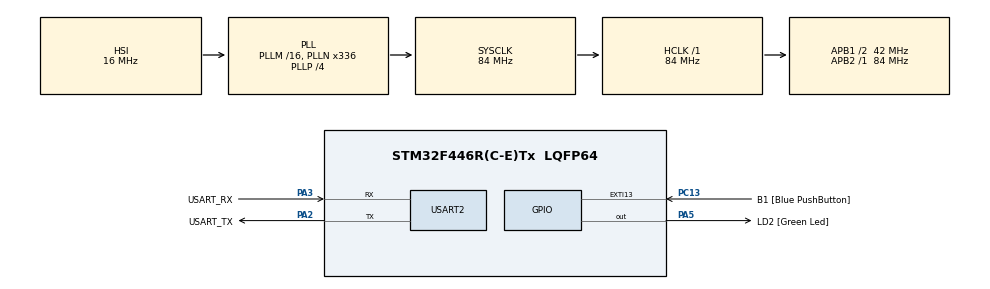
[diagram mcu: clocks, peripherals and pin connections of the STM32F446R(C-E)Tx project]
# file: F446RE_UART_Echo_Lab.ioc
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Mcu.Family=STM32F4
Mcu.Name=STM32F446R(C-E)Tx
Mcu.Package=LQFP64
NVIC.PriorityGroup=NVIC_PRIORITYGROUP_0
NVIC.USART2_IRQn=true\:0\:0\:false\:false\:true\:true\:true\:true
PA13.GPIO_Label=TMS
PA13.Mode=Serial_Wire
PA13.Signal=SYS_JTMS-SWDIO
PA14.GPIO_Label=TCK
PA14.Mode=Serial_Wire
PA14.Signal=SYS_JTCK-SWCLK
PA2.GPIO_Label=USART_TX
PA2.Mode=Asynchronous
PA2.Signal=USART2_TX
PA3.GPIO_Label=USART_RX
PA3.Mode=Asynchronous
PA3.Signal=USART2_RX
PA5.GPIO_Label=LD2 [Green Led]
PA5.Signal=GPIO_Output
PB3.GPIO_Label=SWO
PB3.Signal=SYS_JTDO-SWO
PC13.GPIO_Label=B1 [Blue PushButton]
PC13.GPIO_ModeDefaultEXTI=GPIO_MODE_IT_FALLING
PC13.Signal=GPXTI13
PC14-OSC32_IN.Mode=LSE-External-Oscillator
PC14-OSC32_IN.Signal=RCC_OSC32_IN
PC15-OSC32_OUT.Mode=LSE-External-Oscillator
PC15-OSC32_OUT.Signal=RCC_OSC32_OUT
PH0-OSC_IN.Mode=HSE-External-Oscillator
PH0-OSC_IN.Signal=RCC_OSC_IN
PH1-OSC_OUT.Mode=HSE-External-Oscillator
PH1-OSC_OUT.Signal=RCC_OSC_OUT
ProjectManager.HeapSize=0x200
ProjectManager.StackSize=0x400
ProjectManager.TargetToolchain=STM32CubeIDE
RCC.48MHZClocksFreq_Value=84000000
RCC.AHBFreq_Value=84000000
RCC.APB1CLKDivider=RCC_HCLK_DIV2
RCC.APB1Freq_Value=42000000
RCC.APB1TimFreq_Value=84000000
RCC.APB2Freq_Value=84000000
RCC.APB2TimFreq_Value=84000000
RCC.CortexFreq_Value=84000000
RCC.FLatency-AdvancedSettings=FLASH_LATENCY_2
RCC.HCLKFreq_Value=84000000
RCC.HSE_VALUE=8000000
RCC.HSI_VALUE=16000000
RCC.PLLN=336
RCC.PLLP=RCC_PLLP_DIV4
RCC.SYSCLKFreq_VALUE=84000000
RCC.SYSCLKSource=RCC_SYSCLKSOURCE_PLLCLK
RCC.USBFreq_Value=168000000
RCC.VCOOutputFreq_Value=336000000
USART2.VirtualMode=VM_ASYNC
board=NUCLEO-F446RE

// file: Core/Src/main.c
/* USER CODE BEGIN Header */
/**
  ******************************************************************************
  * @file           : main.c
  * @brief          : Main program body
  ******************************************************************************
  * @attention
  *
  * Copyright (c) 2026 STMicroelectronics.
  * All rights reserved.
  *
  * This software is licensed under terms that can be found in the LICENSE file
  * in the root directory of this software component.
  * If no LICENSE file comes with this software, it is provided AS-IS.
  *
  ******************************************************************************
  */
/* USER CODE END Header */
#include "main.h"

UART_HandleTypeDef huart2;

/* USER CODE BEGIN PV */

static uint8_t uart_rx_byte;
static volatile uint32_t a1_count = 0;

/* USER CODE END PV */

void SystemClock_Config(void);
static void MX_GPIO_Init(void);
static void MX_USART2_UART_Init(void);

int main(void)
{

  /* MCU Configuration--------------------------------------------------------*/

  /* Reset of all peripherals, Initializes the Flash interface and the Systick. */
  HAL_Init();

  /* Configure the system clock */
  SystemClock_Config();

  /* Initialize all configured peripherals */
  MX_GPIO_Init();
  MX_USART2_UART_Init();
  /* USER CODE BEGIN 2 */

//  uint8_t rx;
//
//  const char banner[] = "UART2 READY\r\n";
//
//  HAL_UART_Transmit(
//      &huart2,
//      (uint8_t *)banner,
//      sizeof(banner) - 1,
//      100
//  );
//
//  const char token[] = "A1?";
//  uint8_t seq = 0;

  const char banner[] = "UART2 IT READY\r\n";

  HAL_UART_Transmit(
      &huart2,
      (uint8_t *)banner,
      sizeof(banner) - 1,
      100
  );

  if (HAL_UART_Receive_IT(
          &huart2,
          &uart_rx_byte,
          1) != HAL_OK)
  {
      Error_Handler();
  }

  uint32_t handled_count = 0;

  /* USER CODE END 2 */

  /* Infinite loop */
  while (1)
  {

    /* USER CODE BEGIN 3 */
//
//	  if (HAL_UART_Receive(&huart2, &rx, 1, 1000) == HAL_OK)
//	  {
//	      // Echo received byte
//	      HAL_UART_Transmit(&huart2, &rx, 1, 100);
//
//	      // Detect command "A1?"
//	      if (rx == (uint8_t)token[seq])
//	      {
//	          seq++;
//
//	          if (seq == 3)
//	          {
//	              // Toggle PA5 three times
//	              for (int i = 0; i < 3; i++)
//	              {
//	                  HAL_GPIO_TogglePin(GPIOA, GPIO_PIN_5);
//	                  HAL_Delay(150);
//	              }
//
//	              seq = 0;
//	          }
//	      }
//	      else
//	      {
//	          seq = (rx == 'A') ? 1 : 0;
//	      }
//	  }
//
//  }

	  if (handled_count != a1_count)
	  {
	      handled_count++;

	      for (int i = 0; i < 3; i++)
	      {
	          HAL_GPIO_TogglePin(
	              LD2_GPIO_Port,
	              LD2_Pin
	          );

	          HAL_Delay(150);
	      }
	  }

  /* USER CODE END 3 */
}

}

void SystemClock_Config(void)
{
  RCC_OscInitTypeDef RCC_OscInitStruct = {0};
  RCC_ClkInitTypeDef RCC_ClkInitStruct = {0};

  /** Configure the main internal regulator output voltage
  */
  __HAL_RCC_PWR_CLK_ENABLE();
  __HAL_PWR_VOLTAGESCALING_CONFIG(PWR_REGULATOR_VOLTAGE_SCALE3);

  /** Initializes the RCC Oscillators according to the specified parameters
  * in the RCC_OscInitTypeDef structure.
  */
  RCC_OscInitStruct.OscillatorType = RCC_OSCILLATORTYPE_HSI;
  RCC_OscInitStruct.HSIState = RCC_HSI_ON;
  RCC_OscInitStruct.HSICalibrationValue = RCC_HSICALIBRATION_DEFAULT;
  RCC_OscInitStruct.PLL.PLLState = RCC_PLL_ON;
  RCC_OscInitStruct.PLL.PLLSource = RCC_PLLSOURCE_HSI;
  RCC_OscInitStruct.PLL.PLLM = 16;
  RCC_OscInitStruct.PLL.PLLN = 336;
  RCC_OscInitStruct.PLL.PLLP = RCC_PLLP_DIV4;
  RCC_OscInitStruct.PLL.PLLQ = 2;
  RCC_OscInitStruct.PLL.PLLR = 2;
  if (HAL_RCC_OscConfig(&RCC_OscInitStruct) != HAL_OK)
  {
    Error_Handler();
  }

  /** Initializes the CPU, AHB and APB buses clocks
  */
  RCC_ClkInitStruct.ClockType = RCC_CLOCKTYPE_HCLK|RCC_CLOCKTYPE_SYSCLK
                              |RCC_CLOCKTYPE_PCLK1|RCC_CLOCKTYPE_PCLK2;
  RCC_ClkInitStruct.SYSCLKSource = RCC_SYSCLKSOURCE_PLLCLK;
  RCC_ClkInitStruct.AHBCLKDivider = RCC_SYSCLK_DIV1;
  RCC_ClkInitStruct.APB1CLKDivider = RCC_HCLK_DIV2;
  RCC_ClkInitStruct.APB2CLKDivider = RCC_HCLK_DIV1;

  if (HAL_RCC_ClockConfig(&RCC_ClkInitStruct, FLASH_LATENCY_2) != HAL_OK)
  {
    Error_Handler();
  }
}

static void MX_USART2_UART_Init(void)
{

  huart2.Instance = USART2;
  huart2.Init.BaudRate = 115200;
  huart2.Init.WordLength = UART_WORDLENGTH_8B;
  huart2.Init.StopBits = UART_STOPBITS_1;
  huart2.Init.Parity = UART_PARITY_NONE;
  huart2.Init.Mode = UART_MODE_TX_RX;
  huart2.Init.HwFlowCtl = UART_HWCONTROL_NONE;
  huart2.Init.OverSampling = UART_OVERSAMPLING_16;
  if (HAL_UART_Init(&huart2) != HAL_OK)
  {
    Error_Handler();
  }

}

static void MX_GPIO_Init(void)
{
  GPIO_InitTypeDef GPIO_InitStruct = {0};

  /* GPIO Ports Clock Enable */
  __HAL_RCC_GPIOC_CLK_ENABLE();
  __HAL_RCC_GPIOH_CLK_ENABLE();
  __HAL_RCC_GPIOA_CLK_ENABLE();
  __HAL_RCC_GPIOB_CLK_ENABLE();

  /*Configure GPIO pin Output Level */
  HAL_GPIO_WritePin(LD2_GPIO_Port, LD2_Pin, GPIO_PIN_RESET);

  /*Configure GPIO pin : B1_Pin */
  GPIO_InitStruct.Pin = B1_Pin;
  GPIO_InitStruct.Mode = GPIO_MODE_IT_FALLING;
  GPIO_InitStruct.Pull = GPIO_NOPULL;
  HAL_GPIO_Init(B1_GPIO_Port, &GPIO_InitStruct);

  /*Configure GPIO pin : LD2_Pin */
  GPIO_InitStruct.Pin = LD2_Pin;
  GPIO_InitStruct.Mode = GPIO_MODE_OUTPUT_PP;
  GPIO_InitStruct.Pull = GPIO_NOPULL;
  GPIO_InitStruct.Speed = GPIO_SPEED_FREQ_LOW;
  HAL_GPIO_Init(LD2_GPIO_Port, &GPIO_InitStruct);

}

/* USER CODE BEGIN 4 */

void HAL_UART_RxCpltCallback(UART_HandleTypeDef *huart)
{
    static uint8_t seq = 0;
    const char token[] = "A1?";

    if (huart->Instance != USART2)
        return;

    if (uart_rx_byte == (uint8_t)token[seq])
    {
        seq++;

        if (seq == 3)
        {
            a1_count++;
            seq = 0;
        }
    }
    else
    {
        seq = (uart_rx_byte == 'A') ? 1 : 0;
    }

    /* Re-arm reception */
    HAL_UART_Receive_IT(
        huart,
        &uart_rx_byte,
        1
    );
}

/* USER CODE END 4 */

void Error_Handler(void)
{
  __disable_irq();
  while (1)
  {
  }
}
